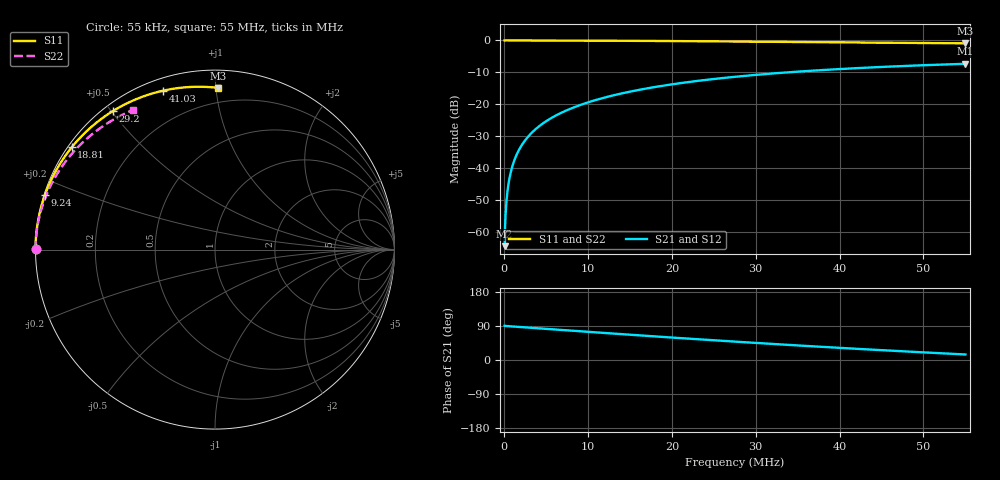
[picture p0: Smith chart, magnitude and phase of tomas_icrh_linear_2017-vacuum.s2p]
! TOUCHSTONE file generated by CST MICROWAVE STUDIO
! Date and time: Wed Sep 20 13:06:44 2023
! Project name: tomas_icrh_linear_2017-vacuum_1 (1).cst
! Parameters = {Bottom_flange_h=305; Bottom_flange_r=31.5; Bottom_flange_x=215; Box_w=180; CP=992; Ca=825; Cs=97.77; Feeder_Z0=50; Feeder_inner_r=5; Feeder_outer_h=180; Feeder_outer_r=19.5; Feeder_perp_plate_l=34.8569; Feeder_transition_plate_l=25; Inner_flange_h=370; Inner_flange_r=17.5; Limiters_c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
! Header version: 2018
! Port assignment regex: !\s*Touchstone port\s*([0-9]+)\s*=\s*(CST MWS port|CST DS port)\s*([0-9]+|Zmin|Zmax)\s*\(\"(.*)\"\)(\s*mode\s*([0-9]+))?.*
! Touchstone port assignment:
! Touchstone port 1 = CST MWS port 1 ("")
! Touchstone port 2 = CST MWS port 2 ("")
# MHz S RI R 50
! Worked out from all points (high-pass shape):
!   1003 points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, 55 kHz to 55 MHz, reference 50 ohm
!   highest |S21| = -7.32 dB at 55 MHz (marker M1); lowest = -64.5 dB at 55 kHz (marker M2)
!   |S21| within 3 dB of the highest: 32.22 MHz to end of sweep
!   lowest |S11| = -0.9 dB at 55 MHz (marker M3), VSWR 19.24, Z = 5.27 + j50.6 ohm
!   |S11| at or under -10 dB: nowhere
!   |S22| runs from -0.9 to 0.0 dB; largest |S21 - S12| = 8.4e-06
!   S11 on the Smith chart (normalised r, x): 55 kHz: 0.00, +0.00; 9.24 MHz: 0.00, +0.16; 18.81 MHz: 0.01, +0.32; 29.2 MHz: 0.03, +0.50; 41.03 MHz: 0.05, +0.72; 55 MHz: 0.11, +1.01
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0.055  -1 0.00187  -2.89e-06 0.000594  -3.96e-06 0.000594  -1 0.00117
0.165  -1 0.00559  3.74e-06 0.00179  2.87e-06 0.00179  -1 0.00352
0.385  -0.9999 0.013  3.88e-05 0.00418  3.83e-05 0.00418  -0.9999 0.00821
0.44  -0.9999 0.0149  5.21e-05 0.00478  5.17e-05 0.00478  -0.9999 0.00938
0.55  -0.9998 0.0186  8.42e-05 0.00597  8.39e-05 0.00597  -0.9999 0.0117
0.715  -0.9997 0.0242  0.000146 0.00776  0.000146 0.00776  -0.9998 0.0152
1.1  -0.9992 0.0372  0.000354 0.0119  0.000354 0.0119  -0.9996 0.0234
1.54  -0.9985 0.052  0.000699 0.0167  0.000699 0.0167  -0.9993 0.0328
2.035  -0.9974 0.0687  0.00123 0.022  0.00123 0.022  -0.9988 0.0433
3.19  -0.9936 0.1074  0.00302 0.0344  0.00302 0.0344  -0.9971 0.0677
4.785  -0.9857 0.1603  0.00677 0.0513  0.00677 0.0513  -0.9935 0.1013
6.765  -0.9716 0.225  0.0134 0.0716  0.0134 0.0716  -0.987 0.1426
9.24  -0.9476 0.3035  0.0247 0.0958  0.0247 0.0958  -0.9761 0.1933
13.31  -0.8941 0.4249  0.0498 0.1315  0.0498 0.1315  -0.9514 0.2738
18.37  -0.8069 0.5591  0.0901 0.167  0.0901 0.167  -0.9104 0.3674
18.81  -0.7984 0.5697  0.094 0.1696  0.094 0.1696  -0.9064 0.3751
27.555  -0.609 0.7456  0.1787 0.2017  0.1787 0.2017  -0.8137 0.5148
29.205  -0.5702 0.771  0.1956 0.2037  0.1956 0.2037  -0.7941 0.5379
36.685  -0.3911 0.8564  0.2705 0.1982  0.2705 0.1982  -0.6998 0.6304
41.03  -0.2881 0.8857  0.3111 0.1852  0.3111 0.1852  -0.6425 0.675
45.87  -0.1772 0.9032  0.3524 0.1637  0.3524 0.1637  -0.5776 0.7174
55  0.0158 0.9011  0.4167 0.1083  0.4167 0.1083  -0.4549 0.779
